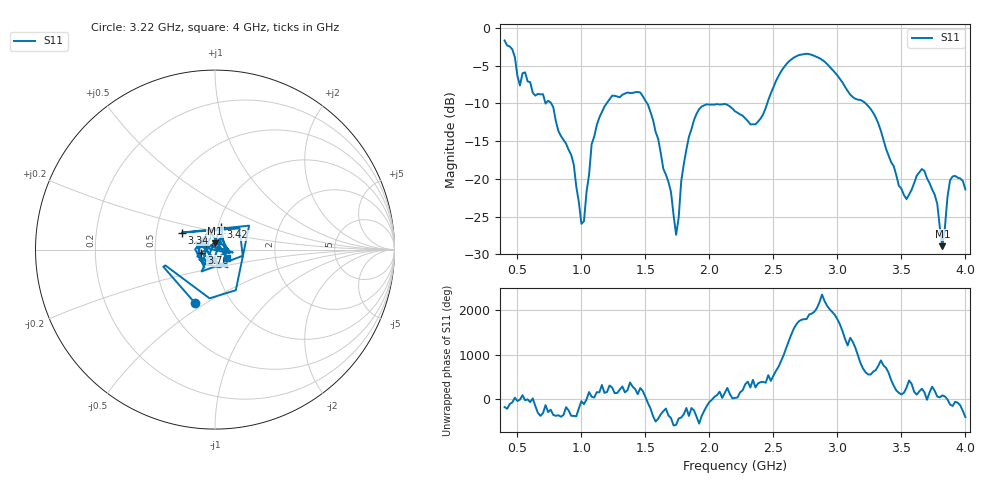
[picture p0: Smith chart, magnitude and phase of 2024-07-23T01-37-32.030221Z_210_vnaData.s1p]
!Created with skrf (http://scikit-rf.org).
# Hz S RI R 50.0
!freq ReS11 ImS11
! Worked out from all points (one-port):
!   181 points, 400 MHz to 4 GHz, reference 50 ohm
!   lowest |S11| = -28.9 dB at 3.82 GHz (marker M1), VSWR 1.07, Z = 49.9 + j3.58 ohm
!   |S11| at or under -10 dB: 763.5 MHz to 1.198 GHz (434.2 MHz wide, 44.3 % of centre); 1.513 GHz to 2.452 GHz (938.8 MHz wide, 47.4 % of centre); 3.22 GHz to end of sweep (the widest 3 of 4)
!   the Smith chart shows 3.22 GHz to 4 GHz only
!   S11 on the Smith chart (normalised r, x): 3.22 GHz: 0.68, -0.45; 3.34 GHz: 0.68, +0.13; 3.42 GHz: 1.04, +0.26; 3.76 GHz: 0.86, -0.03; 4 GHz: 1.14, -0.11
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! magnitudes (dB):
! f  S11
! 400 MHz  -1.7
! 520 MHz  -7.6
! 760 MHz  -9.9
! 860 MHz  -14.8
! 940 MHz  -18.1
! 1 GHz  -26.0
! 1.12 GHz  -12.9
! 1.3 GHz  -9.2
! 1.52 GHz  -10.2
! 1.7 GHz  -21.8
! 1.74 GHz  -27.4
! 1.76 GHz  -25.1
! 1.8 GHz  -18.1
! 1.9 GHz  -11.4
! 2.2 GHz  -11.1
! 2.36 GHz  -12.8
! 2.66 GHz  -3.9
! 2.88 GHz  -4.2
! 3.1 GHz  -8.8
! 3.22 GHz  -10.0
! 3.34 GHz  -13.7
! 3.42 GHz  -17.8
! 3.56 GHz  -22.1
! 3.66 GHz  -18.7
! 3.76 GHz  -22.1
! 3.82 GHz  -28.9
! 3.88 GHz  -20.2
! 4 GHz  -21.4
